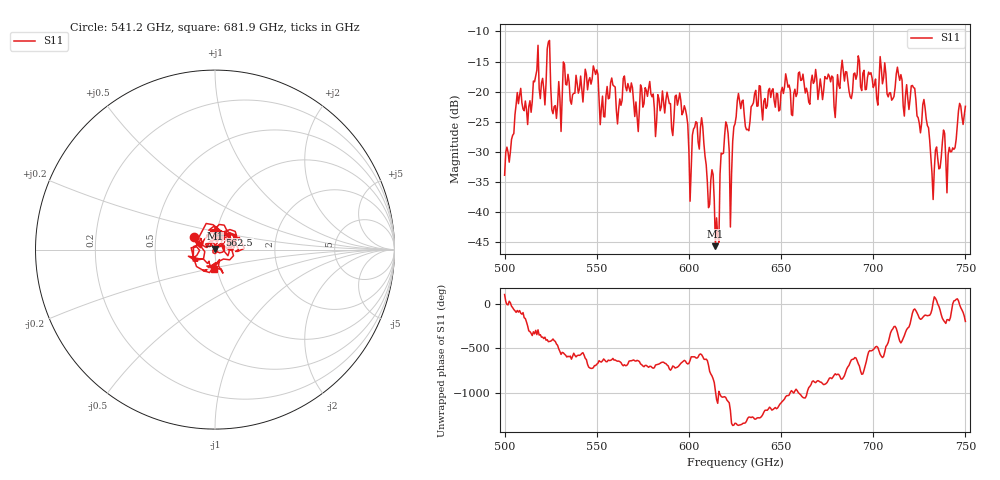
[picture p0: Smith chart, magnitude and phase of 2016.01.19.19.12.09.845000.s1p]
!Created with skrf (http://scikit-rf.org).
# GHz S RI R 50.0
!freq ReS11 ImS11
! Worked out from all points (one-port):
!   401 points, 500 GHz to 750 GHz, reference 50 ohm
!   lowest |S11| = -45.7 dB at 614.4 GHz (marker M1), VSWR 1.01, Z = 49.9 + j0.51 ohm
!   |S11| at or under -10 dB: start of sweep to end of sweep
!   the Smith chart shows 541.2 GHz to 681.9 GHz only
!   S11 on the Smith chart (normalised r, x): 541.2 GHz: 0.79, +0.11; 562.5 GHz: 1.04, +0.17; 681.9 GHz: 0.97, -0.21
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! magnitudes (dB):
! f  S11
! 500 GHz  -33.9
! 507.5 GHz  -22.0
! 513.8 GHz  -21.5
! 516.9 GHz  -17.4
! 520.6 GHz  -17.8
! 523.8 GHz  -11.8
! 526.9 GHz  -22.5
! 531.2 GHz  -21.0
! 541.2 GHz  -17.4
! 549.4 GHz  -17.2
! 553.1 GHz  -20.8
! 558.8 GHz  -18.9
! 562.5 GHz  -21.2
! 593.8 GHz  -22.3
! 600.6 GHz  -38.2
! 607.5 GHz  -25.8
! 614.4 GHz  -45.7
! 615.6 GHz  -44.1
! 619.4 GHz  -27.3
! 623.1 GHz  -33.8
! 625 GHz  -25.4
! 656.2 GHz  -24.0
! 681.9 GHz  -19.5
! 687.5 GHz  -20.9
! 718.8 GHz  -21.2
! 728.1 GHz  -22.7
! 732.5 GHz  -37.9
! 750 GHz  -22.4
